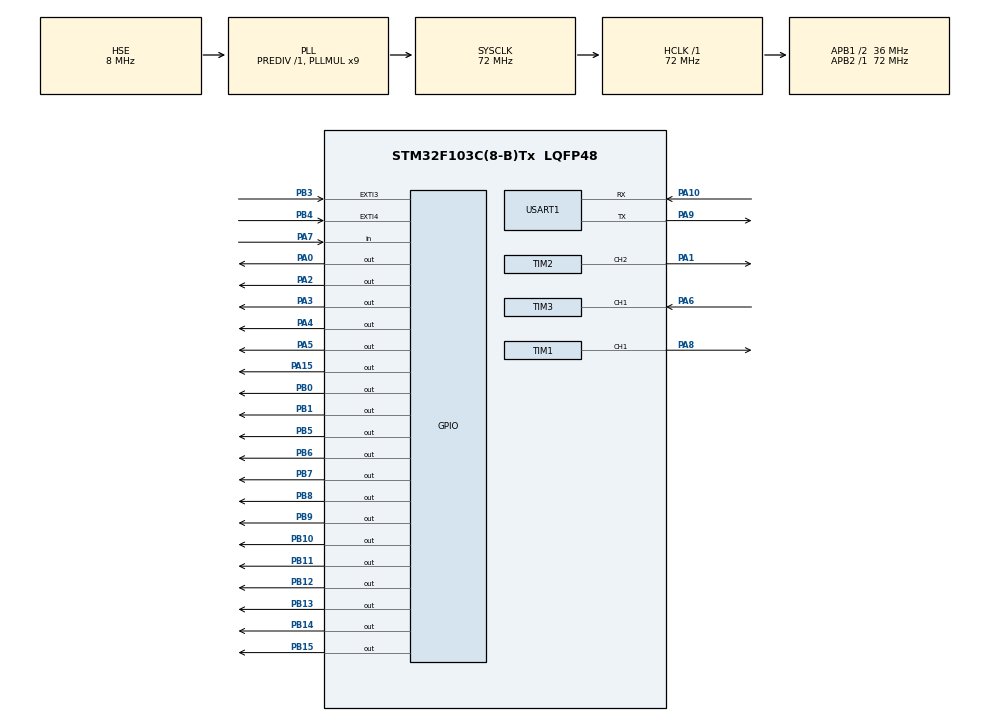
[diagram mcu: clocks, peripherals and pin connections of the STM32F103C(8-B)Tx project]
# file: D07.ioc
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Mcu.Family=STM32F1
Mcu.Name=STM32F103C(8-B)Tx
Mcu.Package=LQFP48
NVIC.EXTI3_IRQn=true\:1\:0\:true\:false\:true\:true\:true\:true
NVIC.EXTI4_IRQn=true\:1\:0\:true\:false\:true\:true\:true\:true
NVIC.PriorityGroup=NVIC_PRIORITYGROUP_4
NVIC.TIM3_IRQn=true\:1\:0\:true\:false\:true\:true\:true\:true
NVIC.TIM4_IRQn=true\:2\:0\:true\:false\:true\:true\:true\:true
NVIC.USART1_IRQn=true\:3\:0\:true\:false\:true\:true\:true\:true
PA0-WKUP.Signal=GPIO_Output
PA1.Signal=S_TIM2_CH2
PA10.Mode=Asynchronous
PA10.Signal=USART1_RX
PA13.Mode=Serial_Wire
PA13.Signal=SYS_JTMS-SWDIO
PA14.Mode=Serial_Wire
PA14.Signal=SYS_JTCK-SWCLK
PA15.Signal=GPIO_Output
PA2.Signal=GPIO_Output
PA3.Signal=GPIO_Output
PA4.Signal=GPIO_Output
PA5.Signal=GPIO_Output
PA6.Signal=S_TIM3_CH1
PA7.GPIO_PuPd=GPIO_PULLUP
PA7.Signal=GPIO_Input
PA8.Signal=S_TIM1_CH1
PA9.Mode=Asynchronous
PA9.Signal=USART1_TX
PB0.PinState=GPIO_PIN_SET
PB0.Signal=GPIO_Output
PB1.PinState=GPIO_PIN_SET
PB1.Signal=GPIO_Output
PB10.PinState=GPIO_PIN_SET
PB10.Signal=GPIO_Output
PB11.Signal=GPIO_Output
PB12.PinState=GPIO_PIN_SET
PB12.Signal=GPIO_Output
PB13.PinState=GPIO_PIN_SET
PB13.Signal=GPIO_Output
PB14.PinState=GPIO_PIN_SET
PB14.Signal=GPIO_Output
PB15.PinState=GPIO_PIN_SET
PB15.Signal=GPIO_Output
PB3.GPIO_ModeDefaultEXTI=GPIO_MODE_IT_RISING_FALLING
PB3.GPIO_PuPd=GPIO_PULLDOWN
PB3.Signal=GPXTI3
PB4.GPIO_ModeDefaultEXTI=GPIO_MODE_IT_RISING_FALLING
PB4.GPIO_PuPd=GPIO_PULLDOWN
PB4.Signal=GPXTI4
PB5.PinState=GPIO_PIN_SET
PB5.Signal=GPIO_Output
PB6.PinState=GPIO_PIN_SET
PB6.Signal=GPIO_Output
PB7.PinState=GPIO_PIN_SET
PB7.Signal=GPIO_Output
PB8.PinState=GPIO_PIN_SET
PB8.Signal=GPIO_Output
PB9.PinState=GPIO_PIN_SET
PB9.Signal=GPIO_Output
PD0-OSC_IN.Mode=HSE-External-Oscillator
PD0-OSC_IN.Signal=RCC_OSC_IN
PD1-OSC_OUT.Mode=HSE-External-Oscillator
PD1-OSC_OUT.Signal=RCC_OSC_OUT
ProjectManager.HeapSize=0x200
ProjectManager.StackSize=0x400
ProjectManager.TargetToolchain=MDK-ARM V5.32
RCC.AHBFreq_Value=72000000
RCC.APB1CLKDivider=RCC_HCLK_DIV2
RCC.APB1Freq_Value=36000000
RCC.APB1TimFreq_Value=72000000
RCC.APB2Freq_Value=72000000
RCC.APB2TimFreq_Value=72000000
RCC.HCLKFreq_Value=72000000
RCC.PLLMUL=RCC_PLL_MUL9
RCC.PLLSourceVirtual=RCC_PLLSOURCE_HSE
RCC.SYSCLKFreq_VALUE=72000000
RCC.SYSCLKSource=RCC_SYSCLKSOURCE_PLLCLK
RCC.USBFreq_Value=72000000
SH.S_TIM1_CH1.0=TIM1_CH1,PWM Generation1 CH1
SH.S_TIM2_CH2.0=TIM2_CH2,PWM Generation2 CH2
SH.S_TIM3_CH1.0=TIM3_CH1,Input_Capture1_from_TI1
TIM1.Channel-PWM\ Generation1\ CH1=TIM_CHANNEL_1
TIM1.OCPolarity_1=TIM_OCPOLARITY_LOW
TIM1.Period=499
TIM1.Prescaler=71
TIM2.Channel-PWM\ Generation2\ CH2=TIM_CHANNEL_2
TIM2.OCMode_PWM-PWM\ Generation2\ CH2=TIM_OCMODE_PWM2
TIM2.Period=12
TIM2.Prescaler=71
TIM2.Pulse-PWM\ Generation2\ CH2=1
TIM3.Channel-Input_Capture1_from_TI1=TIM_CHANNEL_1
TIM3.Prescaler=71
TIM4.Period=499
TIM4.Prescaler=71
USART1.VirtualMode=VM_ASYNC
VP_TIM1_VS_ClockSourceINT.Mode=Internal
VP_TIM2_VS_ClockSourceINT.Mode=Internal
VP_TIM3_VS_ClockSourceINT.Mode=Internal
VP_TIM4_VS_ClockSourceINT.Mode=Internal
board=custom

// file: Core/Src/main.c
/* USER CODE BEGIN Header */
/**
  ******************************************************************************
  * @file           : main.c
  * @brief          : Main program body
  ******************************************************************************
  * @attention
  *
  * Copyright (c) 2026 STMicroelectronics.
  * All rights reserved.
  *
  * This software is licensed under terms that can be found in the LICENSE file
  * in the root directory of this software component.
  * If no LICENSE file comes with this software, it is provided AS-IS.
  *
  ******************************************************************************
  */
/* USER CODE END Header */
#include "main.h"
#include "tim.h"
#include "usart.h"
#include "gpio.h"

/* USER CODE BEGIN Includes */
#include "parking_app.h"
#include "hcsr04.h"
#include "display4.h"
#include "level_led.h"
#include "buzzer.h"

/* USER CODE END Includes */

/* USER CODE BEGIN PV */

/* Cac bien dung de xem trong Debug */

/* USER CODE END PV */

void SystemClock_Config(void);

int main(void)
{

  /* MCU Configuration--------------------------------------------------------*/

  /* Reset of all peripherals, Initializes the Flash interface and the Systick. */
  HAL_Init();

  /* Configure the system clock */
  SystemClock_Config();

  /* Initialize all configured peripherals */
  MX_GPIO_Init();
  MX_TIM2_Init();
  MX_TIM3_Init();
  MX_TIM4_Init();
  MX_TIM1_Init();
  MX_USART1_UART_Init();
  /* USER CODE BEGIN 2 */
if (Parking_Init() != HAL_OK)
{
    Error_Handler();
}
if (Buzzer_Init() != HAL_OK)
{
    Error_Handler();
}
  /* USER CODE END 2 */

  /* Infinite loop */
  while (1)
  {

    /* USER CODE BEGIN 3 */

		Parking_Task();
  }
  /* USER CODE END 3 */
}

void SystemClock_Config(void)
{
  RCC_OscInitTypeDef RCC_OscInitStruct = {0};
  RCC_ClkInitTypeDef RCC_ClkInitStruct = {0};

  /** Initializes the RCC Oscillators according to the specified parameters
  * in the RCC_OscInitTypeDef structure.
  */
  RCC_OscInitStruct.OscillatorType = RCC_OSCILLATORTYPE_HSE;
  RCC_OscInitStruct.HSEState = RCC_HSE_ON;
  RCC_OscInitStruct.HSEPredivValue = RCC_HSE_PREDIV_DIV1;
  RCC_OscInitStruct.HSIState = RCC_HSI_ON;
  RCC_OscInitStruct.PLL.PLLState = RCC_PLL_ON;
  RCC_OscInitStruct.PLL.PLLSource = RCC_PLLSOURCE_HSE;
  RCC_OscInitStruct.PLL.PLLMUL = RCC_PLL_MUL9;
  if (HAL_RCC_OscConfig(&RCC_OscInitStruct) != HAL_OK)
  {
    Error_Handler();
  }

  /** Initializes the CPU, AHB and APB buses clocks
  */
  RCC_ClkInitStruct.ClockType = RCC_CLOCKTYPE_HCLK|RCC_CLOCKTYPE_SYSCLK
                              |RCC_CLOCKTYPE_PCLK1|RCC_CLOCKTYPE_PCLK2;
  RCC_ClkInitStruct.SYSCLKSource = RCC_SYSCLKSOURCE_PLLCLK;
  RCC_ClkInitStruct.AHBCLKDivider = RCC_SYSCLK_DIV1;
  RCC_ClkInitStruct.APB1CLKDivider = RCC_HCLK_DIV2;
  RCC_ClkInitStruct.APB2CLKDivider = RCC_HCLK_DIV1;

  if (HAL_RCC_ClockConfig(&RCC_ClkInitStruct, FLASH_LATENCY_2) != HAL_OK)
  {
    Error_Handler();
  }
}

/* USER CODE BEGIN 4 */
void HAL_TIM_IC_CaptureCallback (TIM_HandleTypeDef *htim)
{
	HCSR04_CaptureCallback(htim);
}
void HAL_TIM_PeriodElapsedCallback(TIM_HandleTypeDef *htim)
{
    if (htim->Instance == TIM4)
    {
        Display4_ScanISR();
    }
}
void HAL_GPIO_EXTI_Callback(uint16_t GPIO_Pin)
{
    HCSR04_EXTI_Callback(GPIO_Pin);
}

/* USER CODE END 4 */

void Error_Handler(void)
{
  __disable_irq();
  while (1)
  {
  }
}
